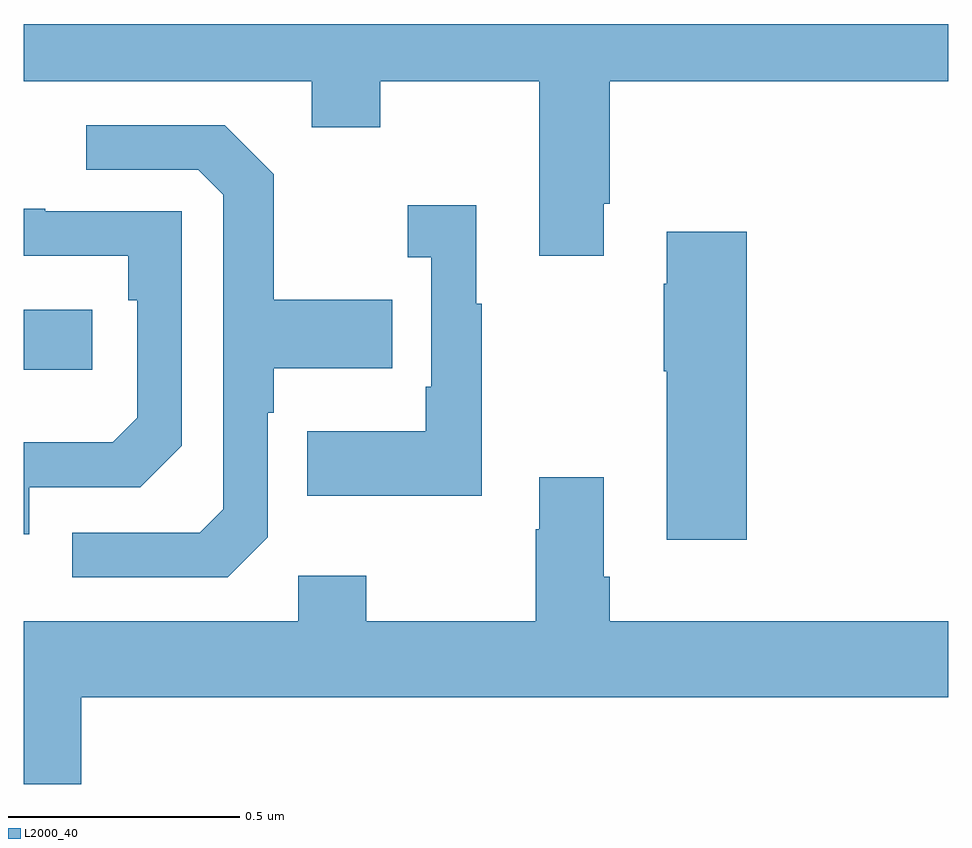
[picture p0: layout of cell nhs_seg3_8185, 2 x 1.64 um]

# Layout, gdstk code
import gdstk
lib = gdstk.Library(unit=1e-6, precision=1e-09)
def R(c, l, rs):  # rectangles x0, y0, x1, y1
    for r in rs: c.add(gdstk.rectangle(r[:2], r[2:], *l))
def P(c, l, *ps):  # polygons
    for p in ps: c.add(gdstk.Polygon(p, *l))
L2000_40 = (2000, 40)

nhs_seg3_8185 = lib.new_cell('nhs_seg3_8185')
R(nhs_seg3_8185, L2000_40, [(213,673.652,213.148,673.782)])
P(nhs_seg3_8185, L2000_40, [(214.255,674.011),(214.268,674.011),(214.268,674.276),(215,674.276),(215,674.4),(213,674.4),(213,674.276),(213.623,674.276),(213.623,674.177),(213.771,674.177),(213.771,674.276),(214.115,674.276),(214.115,673.899),(214.255,673.899)],
  [(213.528,673.29),(213.528,673.559),(213.541,673.559),(213.541,673.655),(213.797,673.655),(213.797,673.803),(213.541,673.803),(213.541,674.075),(213.435,674.181),(213.135,674.181),(213.135,674.085),(213.378,674.085),(213.432,674.031),(213.432,673.35),(213.381,673.299),(213.105,673.299),(213.105,673.203),(213.441,673.203)],
  [(213.991,673.795),(213.979,673.795),(213.979,674.008),(213.831,674.008),(213.831,673.895),(213.882,673.895),(213.882,673.615),(213.87,673.615),(213.87,673.519),(213.613,673.519),(213.613,673.379),(213.991,673.379)],
  [(213.012,673.398),(213.252,673.398),(213.342,673.488),(213.342,673.995),(213.047,673.995),(213.047,674),(213,674),(213,673.899),(213.226,673.899),(213.226,673.802),(213.246,673.802),(213.246,673.548),(213.193,673.495),(213,673.495),(213,673.296),(213.012,673.296)],
  [(214.564,673.951),(214.391,673.951),(214.391,673.838),(214.384,673.838),(214.384,673.649),(214.391,673.649),(214.391,673.284),(214.564,673.284)],
  [(213.124,672.944),(215,672.944),(215,673.108),(214.268,673.108),(214.268,673.204),(214.255,673.204),(214.255,673.42),(214.115,673.42),(214.115,673.307),(214.108,673.307),(214.108,673.108),(213.741,673.108),(213.741,673.207),(213.594,673.207),(213.594,673.108),(213,673.108),(213,672.756),(213.124,672.756)])

lib.write_gds('nhs_seg3_8185.gds')
